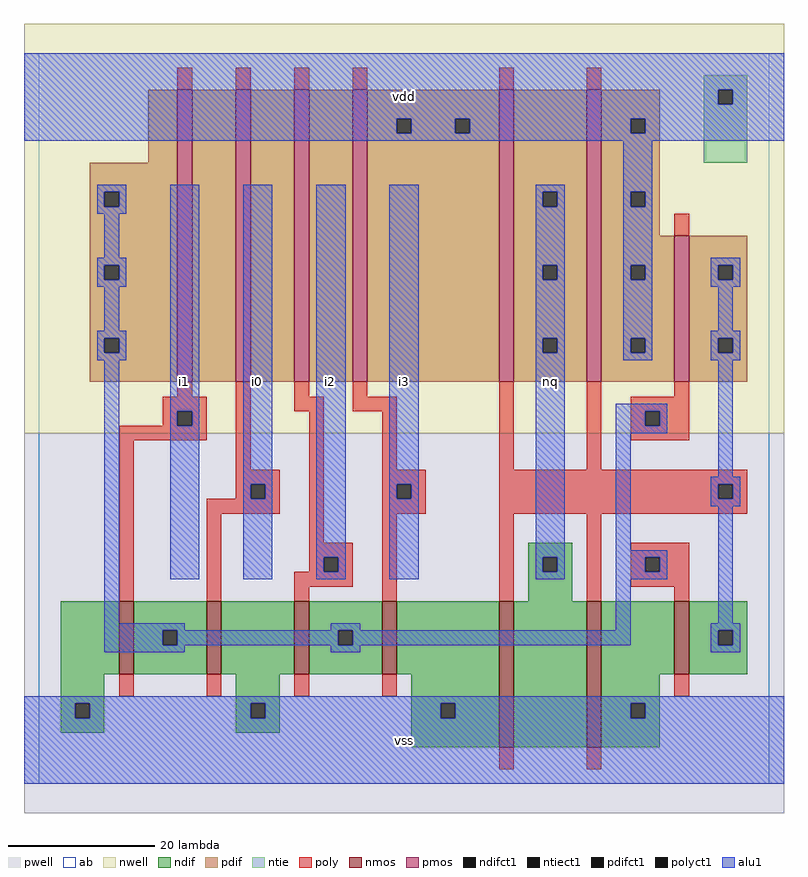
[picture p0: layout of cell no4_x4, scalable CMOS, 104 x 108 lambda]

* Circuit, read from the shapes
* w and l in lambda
.subckt no4_x4 i0 i1 i2 i3 nq vdd vss
M1 n1 i1 vss VSUBS nfet w=10 l=2
M2 vss i0 n1 VSUBS nfet w=10 l=2
M3 n1 i2 vss VSUBS nfet w=10 l=2
M4 vss i3 n1 VSUBS nfet w=10 l=2
M5 nq n2 vss VSUBS nfet w=20 l=2 m=2
M6 n2 n1 vss VSUBS nfet w=10 l=2
M7 n3 i1 n1 vdd pfet w=40 l=2
M8 n4 i0 n3 vdd pfet w=40 l=2
M9 n5 i2 n4 vdd pfet w=40 l=2
M10 vdd i3 n5 vdd pfet w=40 l=2
M11 nq n2 vdd vdd pfet w=40 l=2 m=2
M12 n2 n1 vdd vdd pfet w=20 l=2
.ends

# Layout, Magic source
magic
tech scmos
<< ab >>
rect 0 0 100 100
<< nwell >>
rect -2 48 102 104
<< pwell >>
rect -2 -4 102 48
<< poly >>
rect 19 95 21 98
rect 27 95 29 98
rect 35 95 37 98
rect 43 95 45 98
rect 63 95 65 98
rect 75 95 77 98
rect 87 75 89 78
rect 19 53 21 55
rect 17 51 23 53
rect 17 49 19 51
rect 21 49 23 51
rect 11 47 23 49
rect 11 25 13 47
rect 27 43 29 55
rect 35 53 37 55
rect 43 53 45 55
rect 35 51 39 53
rect 43 51 49 53
rect 27 41 33 43
rect 27 39 29 41
rect 31 39 33 41
rect 23 37 33 39
rect 23 25 25 37
rect 37 33 39 51
rect 47 43 49 51
rect 63 43 65 55
rect 75 43 77 55
rect 87 53 89 55
rect 81 51 89 53
rect 81 49 83 51
rect 85 49 89 51
rect 81 47 89 49
rect 47 41 53 43
rect 47 39 49 41
rect 51 39 53 41
rect 47 37 53 39
rect 63 41 97 43
rect 63 39 93 41
rect 95 39 97 41
rect 63 37 97 39
rect 37 31 43 33
rect 37 29 39 31
rect 41 29 43 31
rect 35 27 43 29
rect 35 25 37 27
rect 47 25 49 37
rect 63 25 65 37
rect 75 25 77 37
rect 81 31 89 33
rect 81 29 83 31
rect 85 29 89 31
rect 81 27 89 29
rect 87 25 89 27
rect 11 12 13 15
rect 23 12 25 15
rect 35 12 37 15
rect 47 12 49 15
rect 87 12 89 15
rect 63 2 65 5
rect 75 2 77 5
<< ndif >>
rect 67 31 73 33
rect 67 29 69 31
rect 71 29 73 31
rect 67 25 73 29
rect 3 15 11 25
rect 13 21 23 25
rect 13 19 17 21
rect 19 19 23 21
rect 13 15 23 19
rect 25 15 35 25
rect 37 21 47 25
rect 37 19 41 21
rect 43 19 47 21
rect 37 15 47 19
rect 49 15 63 25
rect 3 11 9 15
rect 3 9 5 11
rect 7 9 9 11
rect 3 7 9 9
rect 27 11 33 15
rect 27 9 29 11
rect 31 9 33 11
rect 27 7 33 9
rect 51 11 63 15
rect 51 9 55 11
rect 57 9 63 11
rect 51 5 63 9
rect 65 5 75 25
rect 77 15 87 25
rect 89 21 97 25
rect 89 19 93 21
rect 95 19 97 21
rect 89 15 97 19
rect 77 11 85 15
rect 77 9 81 11
rect 83 9 85 11
rect 77 5 85 9
<< pdif >>
rect 15 85 19 95
rect 7 81 19 85
rect 7 79 9 81
rect 11 79 19 81
rect 7 71 19 79
rect 7 69 9 71
rect 11 69 19 71
rect 7 61 19 69
rect 7 59 9 61
rect 11 59 19 61
rect 7 55 19 59
rect 21 55 27 95
rect 29 55 35 95
rect 37 55 43 95
rect 45 91 63 95
rect 45 89 49 91
rect 51 89 57 91
rect 59 89 63 91
rect 45 55 63 89
rect 65 81 75 95
rect 65 79 69 81
rect 71 79 75 81
rect 65 71 75 79
rect 65 69 69 71
rect 71 69 75 71
rect 65 61 75 69
rect 65 59 69 61
rect 71 59 75 61
rect 65 55 75 59
rect 77 91 85 95
rect 77 89 81 91
rect 83 89 85 91
rect 77 81 85 89
rect 77 79 81 81
rect 83 79 85 81
rect 77 75 85 79
rect 77 71 87 75
rect 77 69 81 71
rect 83 69 87 71
rect 77 61 87 69
rect 77 59 81 61
rect 83 59 87 61
rect 77 55 87 59
rect 89 71 97 75
rect 89 69 93 71
rect 95 69 97 71
rect 89 61 97 69
rect 89 59 93 61
rect 95 59 97 61
rect 89 55 97 59
<< alu1 >>
rect -2 95 102 100
rect -2 93 93 95
rect 95 93 102 95
rect -2 91 102 93
rect -2 89 49 91
rect 51 89 57 91
rect 59 89 81 91
rect 83 89 102 91
rect -2 88 102 89
rect 8 81 12 82
rect 8 79 9 81
rect 11 79 12 81
rect 8 78 12 79
rect 9 72 11 78
rect 8 71 12 72
rect 8 69 9 71
rect 11 69 12 71
rect 8 68 12 69
rect 9 62 11 68
rect 8 61 12 62
rect 8 59 9 61
rect 11 59 12 61
rect 8 58 12 59
rect 9 22 11 58
rect 18 51 22 82
rect 18 49 19 51
rect 21 49 22 51
rect 18 28 22 49
rect 28 41 32 82
rect 28 39 29 41
rect 31 39 32 41
rect 28 28 32 39
rect 38 31 42 82
rect 38 29 39 31
rect 41 29 42 31
rect 38 28 42 29
rect 48 41 52 82
rect 48 39 49 41
rect 51 39 52 41
rect 48 28 52 39
rect 68 81 72 82
rect 68 79 69 81
rect 71 79 72 81
rect 68 71 72 79
rect 68 69 69 71
rect 71 69 72 71
rect 68 61 72 69
rect 68 59 69 61
rect 71 59 72 61
rect 68 31 72 59
rect 80 81 84 88
rect 80 79 81 81
rect 83 79 84 81
rect 80 71 84 79
rect 80 69 81 71
rect 83 69 84 71
rect 80 61 84 69
rect 92 71 96 72
rect 92 69 93 71
rect 95 69 96 71
rect 92 68 96 69
rect 93 62 95 68
rect 80 59 81 61
rect 83 59 84 61
rect 80 58 84 59
rect 92 61 96 62
rect 92 59 93 61
rect 95 59 96 61
rect 92 58 96 59
rect 68 29 69 31
rect 71 29 72 31
rect 68 28 72 29
rect 79 51 86 52
rect 79 49 83 51
rect 85 49 86 51
rect 79 48 86 49
rect 79 32 81 48
rect 93 42 95 58
rect 92 41 96 42
rect 92 39 93 41
rect 95 39 96 41
rect 92 38 96 39
rect 79 31 86 32
rect 79 29 83 31
rect 85 29 86 31
rect 79 28 86 29
rect 9 21 20 22
rect 40 21 44 22
rect 79 21 81 28
rect 93 22 95 38
rect 9 19 17 21
rect 19 19 41 21
rect 43 19 81 21
rect 92 21 96 22
rect 92 19 93 21
rect 95 19 96 21
rect 9 18 20 19
rect 40 18 44 19
rect 92 18 96 19
rect -2 11 102 12
rect -2 9 5 11
rect 7 9 29 11
rect 31 9 55 11
rect 57 9 81 11
rect 83 9 102 11
rect -2 0 102 9
<< ntie >>
rect 91 95 97 97
rect 91 93 93 95
rect 95 93 97 95
rect 91 85 97 93
<< nmos >>
rect 11 15 13 25
rect 23 15 25 25
rect 35 15 37 25
rect 47 15 49 25
rect 63 5 65 25
rect 75 5 77 25
rect 87 15 89 25
<< pmos >>
rect 19 55 21 95
rect 27 55 29 95
rect 35 55 37 95
rect 43 55 45 95
rect 63 55 65 95
rect 75 55 77 95
rect 87 55 89 75
<< polyct1 >>
rect 19 49 21 51
rect 29 39 31 41
rect 83 49 85 51
rect 49 39 51 41
rect 93 39 95 41
rect 39 29 41 31
rect 83 29 85 31
<< ndifct1 >>
rect 69 29 71 31
rect 17 19 19 21
rect 41 19 43 21
rect 5 9 7 11
rect 29 9 31 11
rect 55 9 57 11
rect 93 19 95 21
rect 81 9 83 11
<< ntiect1 >>
rect 93 93 95 95
<< pdifct1 >>
rect 9 79 11 81
rect 9 69 11 71
rect 9 59 11 61
rect 49 89 51 91
rect 57 89 59 91
rect 69 79 71 81
rect 69 69 71 71
rect 69 59 71 61
rect 81 89 83 91
rect 81 79 83 81
rect 81 69 83 71
rect 81 59 83 61
rect 93 69 95 71
rect 93 59 95 61
<< labels >>
rlabel alu1 20 55 20 55 6 i1
rlabel alu1 40 55 40 55 6 i2
rlabel alu1 30 55 30 55 6 i0
rlabel alu1 50 6 50 6 6 vss
rlabel alu1 70 55 70 55 6 nq
rlabel alu1 50 55 50 55 6 i3
rlabel alu1 50 94 50 94 6 vdd
<< end >>
